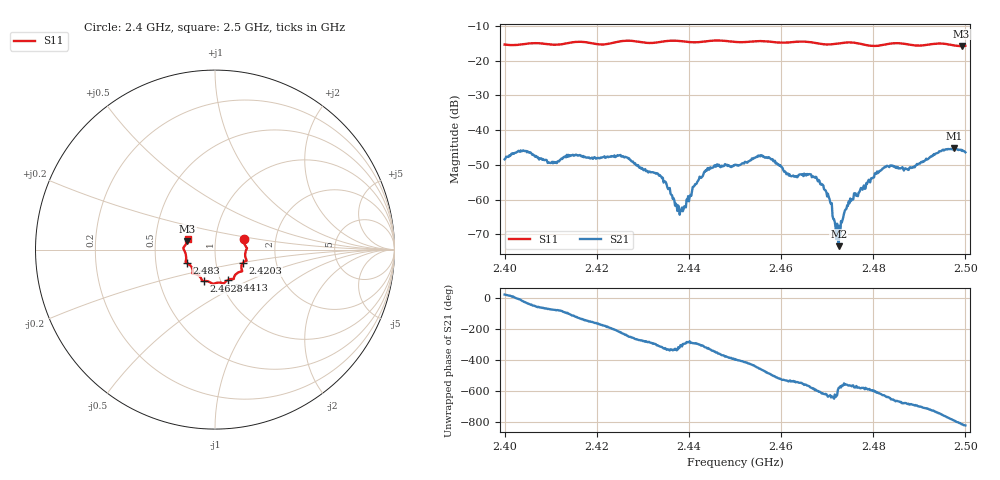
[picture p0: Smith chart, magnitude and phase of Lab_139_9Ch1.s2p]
# Hz S RI R 50
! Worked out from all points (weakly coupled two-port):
!   601 points, 2.4 GHz to 2.5 GHz, reference 50 ohm
!   highest |S21| = -45.18 dB at 2.4975 GHz (marker M1); lowest = -73.4 dB at 2.4725 GHz (marker M2)
!   lowest |S11| = -15.8 dB at 2.4992 GHz (marker M3), VSWR 1.39, Z = 36.4 + j3.54 ohm
!   |S11| at or under -10 dB: start of sweep to end of sweep
!   S12 and S22 are empty: the file has one direction only
!   S11 on the Smith chart (normalised r, x): 2.4 GHz: 1.37, +0.16; 2.4203 GHz: 1.35, -0.21; 2.4413 GHz: 1.09, -0.38; 2.4628 GHz: 0.83, -0.30; 2.483 GHz: 0.72, -0.11; 2.5 GHz: 0.73, +0.09
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2.4e9  0.1606 0.057  0.00352 0.00145  0 0  0 0
2.404e9  0.1714 0.0182  0.00478 -0.00181  0 0  0 0
2.416667e9  0.1762 -0.0615  -0.00302 -0.00291  0 0  0 0
2.420333e9  0.1552 -0.0739  -0.00386 -0.00106  0 0  0 0
2.425333e9  0.1511 -0.1167  -0.00303 0.00287  0 0  0 0
2.433333e9  0.1081 -0.1485  0.00143 0.00185  0 0  0 0
2.438333e9  0.098 -0.1635  0.000395 0.000568  0 0  0 0
2.441333e9  0.0744 -0.168  0.000632 0.00154  0 0  0 0
2.444167e9  0.0552 -0.183  0.00226 0.00175  0 0  0 0
2.45e9  0.0293 -0.1839  0.00266 -0.00175  0 0  0 0
2.455833e9  -0.0113 -0.1908  -0.000933 -0.00415  0 0  0 0
2.462833e9  -0.0631 -0.1748  -0.00215 -5.48e-05  0 0  0 0
2.466667e9  -0.0742 -0.1674  -0.00164 0.00133  0 0  0 0
2.47e9  -0.0923 -0.1438  -4.6e-05 0.00112  0 0  0 0
2.4725e9  -0.115 -0.1347  -0.000168 0.000134  0 0  0 0
2.4755e9  -0.1254 -0.1321  -0.000927 0.000413  0 0  0 0
2.483e9  -0.1547 -0.0768  0.000466 0.00304  0 0  0 0
2.483333e9  -0.1568 -0.0758  0.000518 0.00294  0 0  0 0
2.487833e9  -0.1611 -0.0542  0.00239 0.00158  0 0  0 0
2.4975e9  -0.1637 0.0277  0.00188 -0.00518  0 0  0 0
2.499167e9  -0.1549 0.0473  -0.000361 -0.0052  0 0  0 0
2.5e9  -0.1525 0.0584  -0.000941 -0.00471  0 0  0 0
